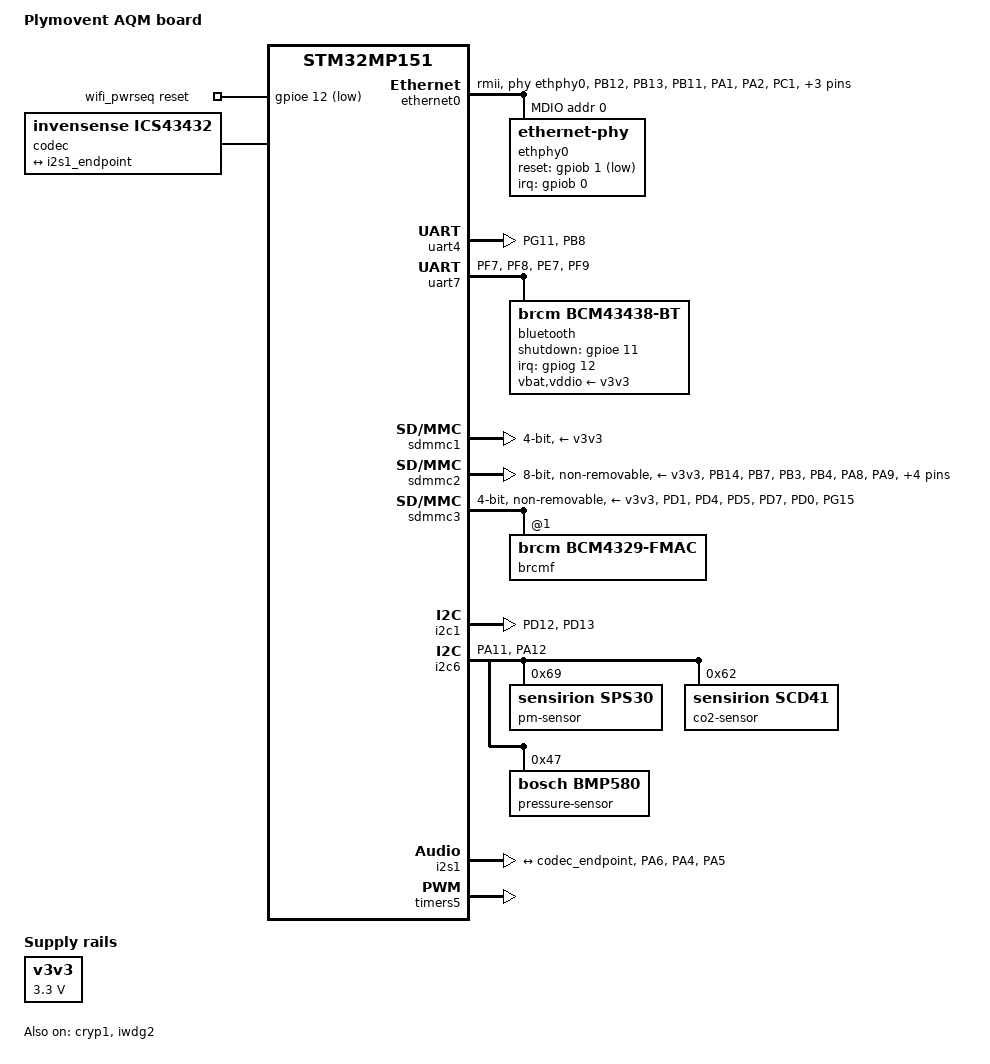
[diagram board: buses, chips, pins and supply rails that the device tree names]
// SPDX-License-Identifier: (GPL-2.0+ OR BSD-3-Clause)
/dts-v1/;

// this file will be dropped after kernel upstreaming is done

#include <arm/st/stm32mp151.dtsi>
#include <arm/st/stm32mp15xc.dtsi>
#include <arm/st/stm32mp15-pinctrl.dtsi>
#include <arm/st/stm32mp15xxad-pinctrl.dtsi>
#include <arm/st/stm32mp15-scmi.dtsi>
#include <dt-bindings/gpio/gpio.h>

/ {
	model = "Plymovent AQM board";
	compatible = "ply,plyaqm", "st,stm32mp151";

	aliases {
		ethernet0 = &ethernet0;
		serial0 = &uart4;
		serial1 = &uart7;
	};

	reserved-memory {
		#address-cells = <1>;
		#size-cells = <1>;
		ranges;

		optee@cfd00000 {
			reg = <0xcfd00000 0x300000>;
			no-map;
		};
	};

	v3v3: fixed-regulator-v3v3 {
		compatible = "regulator-fixed";
		regulator-name = "v3v3";
		regulator-min-microvolt = <3300000>;
		regulator-max-microvolt = <3300000>;
	};

	chosen {
		stdout-path = "serial0:115200n8";
	};

	wifi_pwrseq: wifi-pwrseq {
		compatible = "mmc-pwrseq-simple";
		reset-gpios = <&gpioe 12 GPIO_ACTIVE_LOW>; /* WLAN_REG_ON */
	};

	firmware {
		optee: optee {
			compatible = "linaro,optee-tz";
			method = "smc";
		};
	};

	sound {
		compatible = "audio-graph-card";
		label = "STM32MP15";
		dais = <&i2s1_port>;
		status = "okay";
	};

	codec:codec{
		compatible = "invensense,ics43432";
		clocks = <&i2s1>;
		clock-names = "MCLK";
		status = "okay";

		codec_port: port {
			codec_endpoint: endpoint {
				remote-endpoint = <&i2s1_endpoint>;
				dai-format = "i2s";
			};
		};
	};
};

&cpu0 {
	clocks = <&scmi_clk CK_SCMI_MPU>;
};

&cryp1 {
	clocks = <&scmi_clk CK_SCMI_CRYP1>;
	resets = <&scmi_reset RST_SCMI_CRYP1>;
};

&gpioz {
	clocks = <&scmi_clk CK_SCMI_GPIOZ>;
};

&hash1 {
	clocks = <&scmi_clk CK_SCMI_HASH1>;
	resets = <&scmi_reset RST_SCMI_HASH1>;
};

&i2c4 {
	clocks = <&scmi_clk CK_SCMI_I2C4>;
	resets = <&scmi_reset RST_SCMI_I2C4>;
};

&mdma1 {
	resets = <&scmi_reset RST_SCMI_MDMA>;
};

&m4_rproc {
	/delete-property/ st,syscfg-holdboot;
	resets = <&scmi_reset RST_SCMI_MCU>,
		 <&scmi_reset RST_SCMI_MCU_HOLD_BOOT>;
	reset-names =  "mcu_rst", "hold_boot";
};

&rcc {
	compatible = "st,stm32mp1-rcc-secure", "syscon";
	clock-names = "hse", "hsi", "csi", "lse", "lsi";
	clocks = <&scmi_clk CK_SCMI_HSE>,
		 <&scmi_clk CK_SCMI_HSI>,
		 <&scmi_clk CK_SCMI_CSI>,
		 <&scmi_clk CK_SCMI_LSE>,
		 <&scmi_clk CK_SCMI_LSI>;
};

&rng1 {
	clocks = <&scmi_clk CK_SCMI_RNG1>;
	resets = <&scmi_reset RST_SCMI_RNG1>;
};

&rtc {
	clocks = <&scmi_clk CK_SCMI_RTCAPB>, <&scmi_clk CK_SCMI_RTC>;
};

&gpioa {
	gpio-line-names =
		"", "", "", "", "", "", "", "",
		"", "", "", "", "", "HWID_PL_N", "HWID_CP", "";
};

&gpiob {
	gpio-line-names =
		"", "", "", "", "", "", "LED_LATCH", "",
		"", "RELAY1_EN", "", "", "", "", "", "";
};

&gpioc {
	gpio-line-names =
		"", "", "", "", "", "", "", "",
		"", "", "", "", "", "HWID_Q7", "", "";
};

&gpioe {
	gpio-line-names =
		"", "", "", "", "RELAY2_EN", "", "", "",
		"", "", "", "", "", "", "", "";
};

&gpiog {
	gpio-line-names =
		"", "", "", "", "", "", "", "SW1",
		"", "", "", "", "", "", "", "";
};

&cryp1 {
	status = "okay";
};

&iwdg2 {
	clocks = <&rcc IWDG2>, <&scmi_clk CK_SCMI_LSI>;
	status = "okay";
};

&ethernet0 {
	pinctrl-names = "default", "sleep";
	pinctrl-0 = <&ethernet0_rmii_aqm_pins_a>;
	pinctrl-1 = <&ethernet0_rmii_sleep_aqm_pins_a>;
	phy-mode = "rmii";
	max-speed = <100>;
	phy-handle = <&ethphy0>;
	status = "okay";

	mdio {
		#address-cells = <1>;
		#size-cells = <0>;
		compatible = "snps,dwmac-mdio";

		/* KSZ8081RNA PHY */
		ethphy0: ethernet-phy@0 {
			reg = <0>;
			interrupts-extended = <&gpiob 0 IRQ_TYPE_LEVEL_LOW>;
			reset-gpios = <&gpiob 1 GPIO_ACTIVE_LOW>;
			reset-assert-us = <10000>;
			reset-deassert-us = <300>;
		};
	};
};

&uart4 {
	pinctrl-names = "default", "sleep", "idle";
	pinctrl-0 = <&uart4_aqm_pins_a>;
	pinctrl-1 = <&uart4_idle_aqm_pins_a>;
	pinctrl-2 = <&uart4_sleep_aqm_pins_a>;
	/delete-property/dmas;
	/delete-property/dma-names;
	status = "okay";
};

&uart7{
	pinctrl-names = "default";
	pinctrl-0 = <&uart7_aqm_pins_a>;
	uart-has-rtscts;
	status = "okay";

	bluetooth {
		shutdown-gpios = <&gpioe 11 GPIO_ACTIVE_HIGH>; /* BT_REG_ON */
		compatible = "brcm,bcm43438-bt";
		max-speed = <4000000>;
		vbat-supply = <&v3v3>;
		vddio-supply = <&v3v3>;
		interrupt-parent = <&gpiog>;
		interrupts = <12 IRQ_TYPE_EDGE_RISING>; /* BT_HOST_WAKE */
		interrupt-names = "host-wake";
	};
};

/* SD card without Card-detect */
&sdmmc1 {
	pinctrl-names = "default", "opendrain", "sleep";
	pinctrl-0 = <&sdmmc1_b4_pins_a>;
	pinctrl-1 = <&sdmmc1_b4_od_pins_a>;
	pinctrl-2 = <&sdmmc1_b4_sleep_pins_a>;
	broken-cd;
	no-sdio;
	no-1-8-v;
	st,neg-edge;
	bus-width = <4>;
	vmmc-supply = <&v3v3>;
	status = "okay";
};

/* EMMC */
&sdmmc2 {
	pinctrl-names = "default", "opendrain", "sleep";
	pinctrl-0 = <&sdmmc2_b4_aqm_pins_a>;
	pinctrl-1 = <&sdmmc2_b4_od_aqm_pins_a>;
	pinctrl-2 = <&sdmmc2_b4_sleep_aqm_pins_a>;
	non-removable;
	no-sd;
	no-sdio;
	no-1-8-v;
	st,neg-edge;
	bus-width = <8>;
	vmmc-supply = <&v3v3>;
	status = "okay";
};

/* Wifi */
&sdmmc3 {
	pinctrl-names = "default", "opendrain", "sleep";
	pinctrl-0 = <&sdmmc3_b4_aqm_pins_a>;
	pinctrl-1 = <&sdmmc3_b4_od_aqm_pins_a>;
	pinctrl-2 = <&sdmmc3_b4_sleep_aqm_pins_a>;
	non-removable;
	st,neg-edge;
	bus-width = <4>;
	vmmc-supply = <&v3v3>;
	mmc-pwrseq = <&wifi_pwrseq>;
	#address-cells = <1>;
	#size-cells = <0>;
	status = "okay";

	brcmf: wifi@1 {
		reg = <1>;
		compatible = "brcm,bcm4329-fmac";
	};
};

&spi2 {
	pinctrl-names = "default";
	pinctrl-0 = <&spi2_aqm_pins_a>;
	status = "disabled";

	spidev@0 {
		compatible = "dh,dhcom-board"; /* Needed for spidev in userspace */
		reg = <0>;
		spi-max-frequency = <4000000>;
	};
};

&i2c1 {
	pinctrl-names = "default", "sleep";
	pinctrl-0 = <&i2c1_aqm_pins_a>;
	pinctrl-1 = <&i2c1_sleep_aqm_pins_a>;
	i2c-scl-rising-time-ns = <185>;
	i2c-scl-falling-time-ns = <20>;
	status = "okay";
	/delete-property/dmas;
	/delete-property/dma-names;

	/* CYPD3177 USB PD controller 0x08 */
};

&i2c6 {
	pinctrl-names = "default", "sleep";
	pinctrl-0 = <&i2c6_aqm_pins_a>;
	pinctrl-1 = <&i2c6_sleep_aqm_pins_a>;
	i2c-scl-rising-time-ns = <185>;
	i2c-scl-falling-time-ns = <20>;
	clocks = <&scmi_clk CK_SCMI_I2C6>;
	resets = <&scmi_reset RST_SCMI_I2C6>;
	status = "okay";
	/delete-property/dmas;
	/delete-property/dma-names;

	pm-sensor@69 {
		compatible = "sensirion,sps30";
		reg = <0x69>;
	};

	co2-sensor@62 {
		compatible = "sensirion,scd41";
		reg = <0x62>;
	};

	pressure-sensor@47 {
		compatible = "bosch,bmp580";
		reg = <0x47>;
	};

	/* Used for ZMOD4410 in userspace */
};

&i2s1{
	pinctrl-names = "default", "sleep";
	pinctrl-0 = <&i2s1_aqm_pins>;
	pinctrl-1 = <&i2s1_sleep_aqm_pins>;
	clocks = <&rcc SPI1>, <&rcc SPI1_K>, <&rcc PLL3_Q>, <&rcc PLL3_R>;
	clock-names = "pclk", "i2sclk", "x8k", "x11k";
	#clock-cells = <0>; /* Set I2S2 as master clock provider */
	status = "okay";

	i2s1_port: port {
		i2s1_endpoint: endpoint {
			format = "i2s";
			mclk-fs = <256>;
			remote-endpoint = <&codec_endpoint>;
		};
	};
};

&i2s1{
	pinctrl-names = "default", "sleep";
	pinctrl-0 = <&i2s1_aqm_pins>;
	pinctrl-1 = <&i2s1_sleep_aqm_pins>;
	clocks = <&rcc SPI1>, <&rcc SPI1_K>, <&rcc PLL3_Q>, <&rcc PLL3_R>;
	clock-names = "pclk", "i2sclk", "x8k", "x11k";
	#clock-cells = <0>; /* Set I2S2 as master clock provider */
	status = "okay";

	i2s1_port: port {
		i2s1_endpoint: endpoint {
			format = "i2s";
			mclk-fs = <256>;
			remote-endpoint = <&codec_endpoint>;
		};
	};
};

&timers5 {
	status = "okay";
	/delete-property/dmas;
	/delete-property/dma-names;

	pwm1: pwm {
		pinctrl-0 = <&pwm1_aqm_pins_a>;
		pinctrl-1 = <&pwm1_sleep_aqm_pins_a>;
		pinctrl-names = "default", "sleep";
		status = "okay";
	};
};

&pinctrl {
	ethernet0_rmii_aqm_pins_a: rmii-0 {
		pins1 {
			pinmux = <STM32_PINMUX('B', 12, AF11)>, /* ETH1_RMII_TXD0 */
				 <STM32_PINMUX('B', 13, AF11)>, /* ETH1_RMII_TXD1 */
				 <STM32_PINMUX('B', 11, AF11)>, /* ETH1_RMII_TX_EN */
				 <STM32_PINMUX('A', 1, AF11)>, /* ETH1_RMII_REF_CLK */
				 <STM32_PINMUX('A', 2, AF11)>, /* ETH1_MDIO */
				 <STM32_PINMUX('C', 1, AF11)>; /* ETH1_MDC */
			bias-disable;
			drive-push-pull;
			slew-rate = <2>;
		};

		pins2 {
			pinmux = <STM32_PINMUX('C', 4, AF11)>, /* ETH1_RMII_RXD0 */
				 <STM32_PINMUX('C', 5, AF11)>, /* ETH1_RMII_RXD1 */
				 <STM32_PINMUX('A', 7, AF11)>; /* ETH1_RMII_CRS_DV */
			bias-disable;
		};
	};

	ethernet0_rmii_sleep_aqm_pins_a: rmii-sleep-0 {
		pins1 {
			pinmux = <STM32_PINMUX('B', 12, ANALOG)>, /* ETH1_RMII_TXD0 */
				 <STM32_PINMUX('B', 13, ANALOG)>, /* ETH1_RMII_TXD1 */
				 <STM32_PINMUX('B', 11, ANALOG)>, /* ETH1_RMII_TX_EN */
				 <STM32_PINMUX('A', 2, ANALOG)>, /* ETH1_MDIO */
				 <STM32_PINMUX('C', 1, ANALOG)>, /* ETH1_MDC */
				 <STM32_PINMUX('C', 4, ANALOG)>, /* ETH1_RMII_RXD0 */
				 <STM32_PINMUX('C', 5, ANALOG)>, /* ETH1_RMII_RXD1 */
				 <STM32_PINMUX('A', 1, ANALOG)>, /* ETH1_RMII_REF_CLK */
				 <STM32_PINMUX('A', 7, ANALOG)>; /* ETH1_RMII_CRS_DV */
		};
	};

	/* i2c1 pins redefined because they differ from stm32mp15-pinctrl.dtsi */
	i2c1_aqm_pins_a: i2c1-0 {
		pins {
			pinmux = <STM32_PINMUX('D', 12, AF5)>, /* I2C1_SCL */
				 <STM32_PINMUX('D', 13, AF5)>; /* I2C1_SDA */
			bias-disable;
			drive-open-drain;
			slew-rate = <0>;
		};
	};

	i2c1_sleep_aqm_pins_a: i2c1-sleep-0 {
		pins {
			pinmux = <STM32_PINMUX('D', 12, ANALOG)>, /* I2C1_SCL */
				 <STM32_PINMUX('D', 13, ANALOG)>; /* I2C1_SDA */
		};
	};

	/* i2c6 pins redefined because they differ from stm32mp15-pinctrl.dtsi */
	i2c6_aqm_pins_a: i2c6-0 {
		pins {
			pinmux = <STM32_PINMUX('A', 11, AF2)>, /* I2C6_SCL */
				 <STM32_PINMUX('A', 12, AF2)>; /* I2C6_SDA */
			bias-disable;
			drive-open-drain;
			slew-rate = <0>;
		};
	};

	i2c6_sleep_aqm_pins_a: i2c6-sleep-0 {
		pins {
			pinmux = <STM32_PINMUX('A', 11, ANALOG)>, /* I2C6_SCL */
				 <STM32_PINMUX('A', 12, ANALOG)>; /* I2C6_SDA */
		};
	};

	i2s1_aqm_pins: i2s1-0 {
		pins {
			pinmux = <STM32_PINMUX('A', 6, AF5)>, /* I2S2_SDI */
				 <STM32_PINMUX('A', 4, AF5)>, /* I2S2_WS */
				 <STM32_PINMUX('A', 5, AF5)>; /* I2S2_CK */
			slew-rate = <0>;
			drive-push-pull;
			bias-disable;
		};
	};

	i2s1_sleep_aqm_pins: i2s1-sleep-0 {
		pins {
			pinmux = <STM32_PINMUX('A', 6, ANALOG)>, /* I2S2_SDI */
				 <STM32_PINMUX('A', 4, ANALOG)>, /* I2S2_WS */
				 <STM32_PINMUX('A', 5, ANALOG)>; /* I2S2_CK */
		};
	};

	pwm1_aqm_pins_a: pwm1-0 {
		pins {
			pinmux = <STM32_PINMUX('A', 0, AF2)>; /* TIM5_CH1 */
			bias-pull-down;
			drive-push-pull;
			slew-rate = <0>;
		};
	};

	pwm1_sleep_aqm_pins_a: pwm1-sleep-0 {
		pins {
			pinmux = <STM32_PINMUX('A', 0, ANALOG)>;
		};
	};

	rtc_aqm_pins_mx: rtc_mx-0 {
		pins {
			pinmux = <STM32_PINMUX('I', 8, ANALOG)>; /* RTC_LSCO */
		};
	};

	rtc_sleep_aqm_pins_mx: rtc_sleep_mx-0 {
		pins {
			pinmux = <STM32_PINMUX('I', 8, ANALOG)>; /* RTC_LSCO */
		};
	};

	/* SDMMC1 pins same as stm32mp15-pinctrl.dtsi */

	sdmmc2_b4_sleep_aqm_pins_a: sdmmc2-b4-sleep-0 {
		pins {
			pinmux = <STM32_PINMUX('B', 14, ANALOG)>, /* SDMMC2_D0 */
				 <STM32_PINMUX('B', 7, ANALOG)>, /* SDMMC2_D1 */
				 <STM32_PINMUX('B', 3, ANALOG)>, /* SDMMC2_D2 */
				 <STM32_PINMUX('B', 4, ANALOG)>, /* SDMMC2_D3 */
				 <STM32_PINMUX('A', 8, ANALOG)>, /* SDMMC2_D4 */
				 <STM32_PINMUX('A', 9, ANALOG)>, /* SDMMC2_D5 */
				 <STM32_PINMUX('C', 6, ANALOG)>, /* SDMMC2_D6 */
				 <STM32_PINMUX('C', 7, ANALOG)>, /* SDMMC2_D7 */
				 <STM32_PINMUX('E', 3, ANALOG)>, /* SDMMC2_CK */
				 <STM32_PINMUX('G', 6, ANALOG)>; /* SDMMC2_CMD */
		};
	};

	sdmmc2_b4_aqm_pins_a: sdmmc2-b4-0 {
		pins1 {
			pinmux = <STM32_PINMUX('B', 14, AF9)>, /* SDMMC2_D0 */
				 <STM32_PINMUX('B', 7, AF10)>, /* SDMMC2_D1 */
				 <STM32_PINMUX('B', 3, AF9)>, /* SDMMC2_D2 */
				 <STM32_PINMUX('B', 4, AF9)>, /* SDMMC2_D3 */
				 <STM32_PINMUX('A', 8, AF9)>, /* SDMMC2_D4 */
				 <STM32_PINMUX('A', 9, AF10)>, /* SDMMC2_D5 */
				 <STM32_PINMUX('C', 6, AF10)>, /* SDMMC2_D6 */
				 <STM32_PINMUX('C', 7, AF10)>, /* SDMMC2_D7 */
				 <STM32_PINMUX('G', 6, AF10)>; /* SDMMC2_CMD */
			slew-rate = <1>;
			drive-push-pull;
			bias-pull-up;
		};

		pins2 {
			pinmux = <STM32_PINMUX('E', 3, AF9)>; /* SDMMC2_CK */
			slew-rate = <2>;
			drive-push-pull;
			bias-pull-up;
		};
	};

	sdmmc2_b4_od_aqm_pins_a: sdmmc2-b4-od-0 {
		pins1 {
			pinmux = <STM32_PINMUX('B', 14, AF9)>, /* SDMMC2_D0 */
				 <STM32_PINMUX('B', 7, AF10)>, /* SDMMC2_D1 */
				 <STM32_PINMUX('B', 3, AF9)>, /* SDMMC2_D2 */
				 <STM32_PINMUX('B', 4, AF9)>, /* SDMMC2_D3 */
				 <STM32_PINMUX('A', 8, AF9)>, /* SDMMC2_D4 */
				 <STM32_PINMUX('A', 9, AF10)>, /* SDMMC2_D5 */
				 <STM32_PINMUX('C', 6, AF10)>, /* SDMMC2_D6 */
				 <STM32_PINMUX('C', 7, AF10)>; /* SDMMC2_D7 */
			slew-rate = <1>;
			drive-push-pull;
			bias-pull-up;
		};

		pins2 {
			pinmux = <STM32_PINMUX('E', 3, AF9)>; /* SDMMC2_CK */
			slew-rate = <2>;
			drive-push-pull;
			bias-pull-up;
		};

		pins3 {
			pinmux = <STM32_PINMUX('G', 6, AF10)>; /* SDMMC2_CMD */
			slew-rate = <1>;
			drive-open-drain;
			bias-pull-up;
		};
	};

	sdmmc3_b4_aqm_pins_a: sdmmc3-b4-0 {
		pins1 {
			pinmux = <STM32_PINMUX('D', 1, AF10)>, /* SDMMC3_D0 */
				 <STM32_PINMUX('D', 4, AF10)>, /* SDMMC3_D1 */
				 <STM32_PINMUX('D', 5, AF10)>, /* SDMMC3_D2 */
				 <STM32_PINMUX('D', 7, AF10)>, /* SDMMC3_D3 */
				 <STM32_PINMUX('D', 0, AF10)>; /* SDMMC3_CMD */
			slew-rate = <1>;
			drive-push-pull;
			bias-pull-up;
		};

		pins2 {
			pinmux = <STM32_PINMUX('G', 15, AF10)>; /* SDMMC3_CK */
			slew-rate = <2>;
			drive-push-pull;
			bias-pull-up;
		};
	};

	sdmmc3_b4_od_aqm_pins_a: sdmmc3-b4-od-0 {
		pins1 {
			pinmux = <STM32_PINMUX('D', 1, AF10)>, /* SDMMC3_D0 */
				 <STM32_PINMUX('D', 4, AF10)>, /* SDMMC3_D1 */
				 <STM32_PINMUX('D', 5, AF10)>, /* SDMMC3_D2 */
				 <STM32_PINMUX('D', 7, AF10)>; /* SDMMC3_D3 */
			slew-rate = <1>;
			drive-push-pull;
			bias-pull-up;
		};

		pins2 {
			pinmux = <STM32_PINMUX('G', 15, AF10)>; /* SDMMC3_CK */
			slew-rate = <2>;
			drive-push-pull;
			bias-pull-up;
		};

		pins3 {
			pinmux = <STM32_PINMUX('D', 0, AF10)>; /* SDMMC3_CMD */
			slew-rate = <1>;
			drive-open-drain;
			bias-pull-up;
		};
	};

	sdmmc3_b4_sleep_aqm_pins_a: sdmmc3-b4-sleep-0 {
		pins {
			pinmux = <STM32_PINMUX('D', 1, ANALOG)>, /* SDMMC3_D0 */
				 <STM32_PINMUX('D', 4, ANALOG)>, /* SDMMC3_D1 */
				 <STM32_PINMUX('D', 5, ANALOG)>, /* SDMMC3_D2 */
				 <STM32_PINMUX('D', 7, ANALOG)>, /* SDMMC3_D3 */
				 <STM32_PINMUX('G', 15, ANALOG)>, /* SDMMC3_CK */
				 <STM32_PINMUX('D', 0, ANALOG)>; /* SDMMC3_CMD */
		};
	};

	/* spi2 pins redefined because they differ from stm32mp15-pinctrl.dtsi */
	spi2_aqm_pins_a: spi2-0 {
		pins1 {
			pinmux = <STM32_PINMUX('B', 10, AF5)>, /* SPI2_SCK */
				 <STM32_PINMUX('C', 3, AF5)>; /* SPI2_MOSI */
			bias-disable;
			drive-push-pull;
			slew-rate = <0>;
		};

		pins2 {
			pinmux = <STM32_PINMUX('C', 2, AF5)>; /* SPI2_MISO */
			bias-disable;
		};
	};

	uart4_aqm_pins_a: uart4-0 {
		pins1 {
			pinmux = <STM32_PINMUX('G', 11, AF6)>; /* UART4_TX */
			bias-disable;
			drive-push-pull;
			slew-rate = <0>;
		};

		pins2 {
			pinmux = <STM32_PINMUX('B', 8, AF8)>; /* UART4_RX */
			bias-disable;
		};
	};

	uart4_idle_aqm_pins_a: uart4-idle-0 {
		pins1 {
			pinmux = <STM32_PINMUX('G', 11, ANALOG)>; /* UART4_TX */
		};

		pins2 {
			pinmux = <STM32_PINMUX('B', 8, AF8)>; /* UART4_RX */
			bias-disable;
		};
	};

	uart4_sleep_aqm_pins_a: uart4-sleep-0 {
		pins {
			pinmux = <STM32_PINMUX('G', 11, ANALOG)>, /* UART4_TX */
				 <STM32_PINMUX('B', 2, ANALOG)>; /* UART4_RX */
		};
	};

	uart7_aqm_pins_a: uart7-0 {
		pins1 {
			pinmux = <STM32_PINMUX('F', 7, AF7)>, /* UART7_TX */
				 <STM32_PINMUX('F', 8, AF7)>; /* UART7_RTS */
			bias-disable;
			drive-push-pull;
			slew-rate = <0>;
		};

		pins2 {
			pinmux = <STM32_PINMUX('E', 7, AF7)>, /* UART7_RX */
				 <STM32_PINMUX('F', 9, AF7)>; /* UART7_CTS */
			bias-disable;
		};
	};
};
